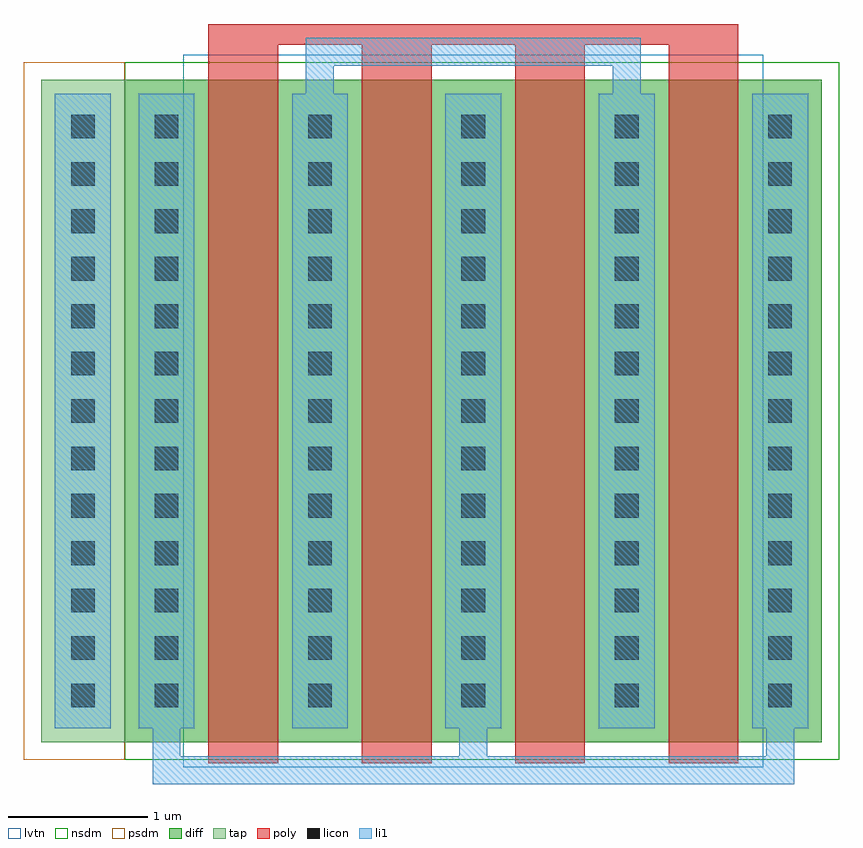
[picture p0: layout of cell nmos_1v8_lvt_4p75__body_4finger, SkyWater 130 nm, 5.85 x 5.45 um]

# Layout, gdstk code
import gdstk
lib = gdstk.Library(unit=1e-6, precision=1e-09)
def R(c, l, rs):  # rectangles x0, y0, x1, y1
    for r in rs: c.add(gdstk.rectangle(r[:2], r[2:], *l))
def A(c, l, x, y, w, h, nx, ny, dx, dy):  # array of equal rectangles
    R(c, l, [(x+i*dx, y+j*dy, x+i*dx+w, y+j*dy+h) for i in range(nx) for j in range(ny)])
diff = (65, 20)
tap = (65, 44)
poly = (66, 20)
licon = (66, 44)
li1 = (67, 20)
nsdm = (93, 44)
psdm = (94, 20)
lvtn = (125, 44)

nmos_1v8_lvt_4p75__body_ = lib.new_cell('nmos_1v8_lvt_4p75__body_4finger')
R(nmos_1v8_lvt_4p75__body_, diff, [(-9.95,0.1,-4.95,4.85)])
R(nmos_1v8_lvt_4p75__body_, tap, [(-10.55,0.1,-9.95,4.85)])
A(nmos_1v8_lvt_4p75__body_, poly, -9.35, -0.05, 0.5, 5.15, 4, 1, 1.1, 0)
R(nmos_1v8_lvt_4p75__body_, poly, [(-9.35,5.1,-5.55,5.25)])
A(nmos_1v8_lvt_4p75__body_, licon, -10.335, 0.35, 0.17, 0.17, 1, 13, 0, 0.34)
A(nmos_1v8_lvt_4p75__body_, licon, -9.735, 0.35, 0.17, 0.17, 5, 13, 1.1, 0.34)
A(nmos_1v8_lvt_4p75__body_, li1, -9.75, 0, 0.2, 0.2, 3, 1, 2.2, 0)
A(nmos_1v8_lvt_4p75__body_, li1, -9.85, 0.2, 0.4, 4.55, 5, 1, 1.1, 0)
R(nmos_1v8_lvt_4p75__body_, li1, [(-9.75,-0.2,-5.15,0), (-10.45,0.2,-10.05,4.75), (-8.65,4.75,-8.45,4.95), (-6.45,4.75,-6.25,4.95), (-8.65,4.95,-6.25,5.15)])
R(nmos_1v8_lvt_4p75__body_, nsdm, [(-9.95,-0.025,-4.825,4.975)])
R(nmos_1v8_lvt_4p75__body_, psdm, [(-10.675,-0.025,-9.95,4.975)])
R(nmos_1v8_lvt_4p75__body_, lvtn, [(-9.53,-0.08,-5.37,5.03)])

lib.write_gds('nmos_1v8_lvt_4p75__body_4finger.gds')
